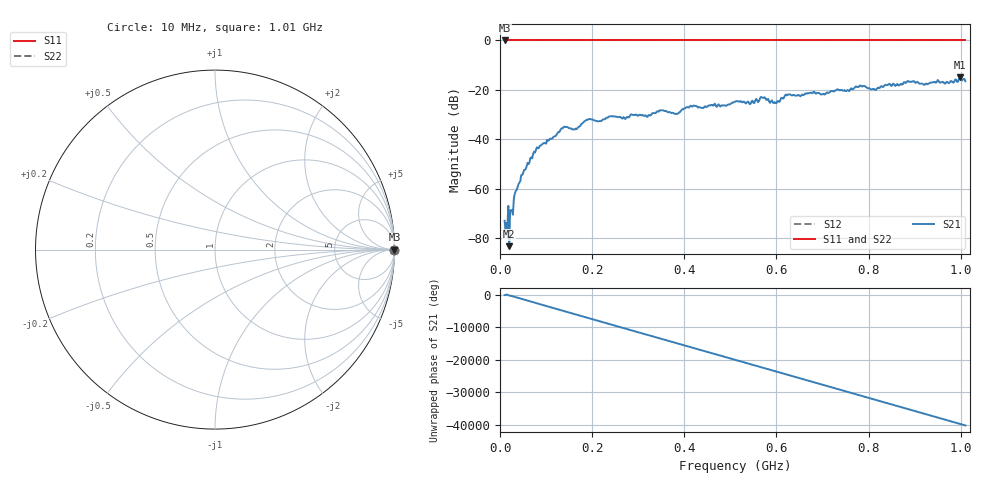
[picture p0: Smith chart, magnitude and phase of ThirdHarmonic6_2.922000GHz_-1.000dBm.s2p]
! 8/17/2025 8:08:11 AM
! C:\ANRITSUVNA\TEMP\TEMP.S2P
! CHANNEL.1
! TR.MEASUREMENT
! RAW.DATA
! RF.CORRECTION.OFF
! AVERAGING.OFF
! IF.BANDWIDTH: 5KHZ
! SWEEPTYPE:  FREQ.SWEEP(Linear)
! Reference Plane Port Info
! PORT:  PORT1  PORT2
! DISTANCE:  0  m  0  m
! TIME:  0  s  0  s
! PHASE.OFFSET:  0  deg.  0  deg.
! LOSS:  0  dB  0  dB
! REF.LOSS:  0  dB  0  dB
! REF.FREQ:  0  Hz  0  Hz
! Power Info
! POWER:  -20  dBm  -20  dBm
! EFF.POWER:  -20  dBm  -20  dBm
! SOURCE.ATTEN:  0  dB  0  dB
! TEST.ATTEN:  0  dB  0  dB
# GHZ S RI R 50.0
! FREQ.GHZ  S11RE  S11IM  S21RE  S21IM  S12RE  S12IM  S22RE  S22IM
!; PortSelection: Port_12
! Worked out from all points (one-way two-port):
!   501 points, 10 MHz to 1.01 GHz, reference 50 ohm
!   highest |S21| = -14.99 dB at 998 MHz (marker M1); lowest = -83.3 dB at 20 MHz (marker M2)
!   lowest |S11| = 0.0 dB at 10 MHz (marker M3)
!   |S11| at or under -10 dB: nowhere
!   |S22| runs from 0.0 to 0.0 dB; largest |S21 - S12| = 1.2
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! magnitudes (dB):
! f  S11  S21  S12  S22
! 10 MHz  0.0  -73.0  0.0  0.0
! 16 MHz  0.0  -75.8  0.0  0.0
! 20 MHz  0.0  -83.3  0.0  0.0
! 24 MHz  0.0  -68.7  0.0  0.0
! 34 MHz  0.0  -61.0  0.0  0.0
! 44 MHz  0.0  -56.9  0.0  0.0
! 76 MHz  0.0  -45.4  0.0  0.0
! 136 MHz  0.0  -35.6  0.0  0.0
! 162 MHz  0.0  -36.0  0.0  0.0
! 178 MHz  0.0  -33.7  0.0  0.0
! 344 MHz  0.0  -28.8  0.0  0.0
! 382 MHz  0.0  -29.7  0.0  0.0
! 416 MHz  0.0  -26.7  0.0  0.0
! 510 MHz  0.0  -24.8  0.0  0.0
! 546 MHz  0.0  -24.7  0.0  0.0
! 570 MHz  0.0  -23.2  0.0  0.0
! 596 MHz  0.0  -24.9  0.0  0.0
! 624 MHz  0.0  -22.1  0.0  0.0
! 678 MHz  0.0  -21.4  0.0  0.0
! 844 MHz  0.0  -17.6  0.0  0.0
! 998 MHz  0.0  -15.0  0.0  0.0
! 1.01 GHz  0.0  -16.5  0.0  0.0
